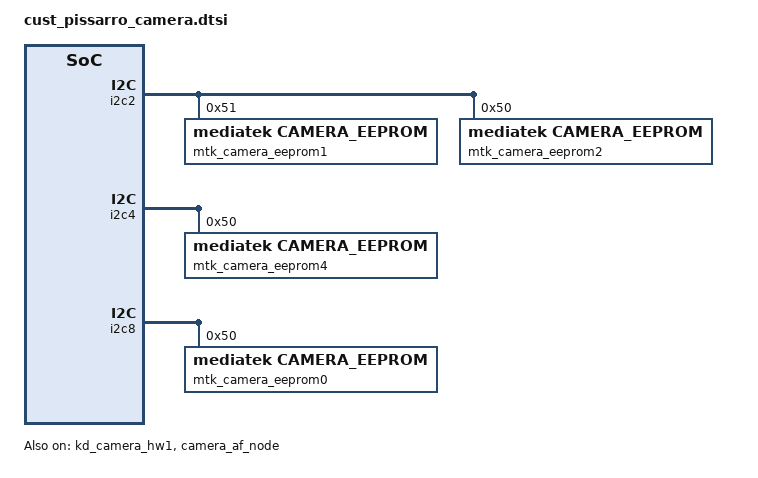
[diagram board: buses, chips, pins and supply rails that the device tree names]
/*
 * Copyright (c) 2019 MediaTek Inc.
 *
 * This program is free software; you can redistribute it and/or modify
 * it under the terms of the GNU General Public License version 2 as
 * published by the Free Software Foundation.
 *
 * This program is distributed in the hope that it will be useful,
 * but WITHOUT ANY WARRANTY; without even the implied warranty of
 * MERCHANTABILITY or FITNESS FOR A PARTICULAR PURPOSE.  See the
 * GNU General Public License for more details.
 */
/* CAMERA GPIO standardization */
&pio {
        /*camera reset pin*/
	camera_pins_cam0_rst_0: cam0@0 {
		pins_cmd_dat {
			pinmux = <PINMUX_GPIO159__FUNC_GPIO159>;
			slew-rate = <1>;
			output-low;
		};
	};
	camera_pins_cam0_rst_1: cam0@1 {
		pins_cmd_dat {
			pinmux = <PINMUX_GPIO159__FUNC_GPIO159>;
			slew-rate = <1>;
			output-high;
		};
	};
	camera_pins_cam1_rst_0: cam1@0 {
		pins_cmd_dat {
			pinmux = <PINMUX_GPIO155__FUNC_GPIO155>;
			slew-rate = <1>;
			output-low;
		};
	};
	camera_pins_cam1_rst_1: cam1@1 {
		pins_cmd_dat {
			pinmux = <PINMUX_GPIO155__FUNC_GPIO155>;
			slew-rate = <1>;
			output-high;
		};
	};
	camera_pins_cam2_rst_0: cam2@0 {
		pins_cmd_dat {
			pinmux = <PINMUX_GPIO161__FUNC_GPIO161>;
			slew-rate = <1>;
			output-low;
		};
	};
	camera_pins_cam2_rst_1: cam2@1 {
		pins_cmd_dat {
			pinmux = <PINMUX_GPIO161__FUNC_GPIO161>;
			slew-rate = <1>;
			output-high;
		};
	};
	camera_pins_cam4_rst_0: cam4@0 {
		pins_cmd_dat {
			pinmux = <PINMUX_GPIO157__FUNC_GPIO157>;
			slew-rate = <1>;
			output-low;
		};
	};
	camera_pins_cam4_rst_1: cam4@1 {
		pins_cmd_dat {
			pinmux = <PINMUX_GPIO157__FUNC_GPIO157>;
			slew-rate = <1>;
			output-high;
		};
	};

        /*camera DVDD pin*/
	camera_pins_cam0_vcamd_0: cam0@vcam0 {
		pins_cmd_dat {
			pinmux = <PINMUX_GPIO154__FUNC_GPIO154>;
			slew-rate = <1>;
			output-low;
		};
	};
	camera_pins_cam0_vcamd_1: cam0@vcam1 {
		pins_cmd_dat {
			pinmux = <PINMUX_GPIO154__FUNC_GPIO154>;
			slew-rate = <1>;
			output-high;
		};
	};

        camera_pins_cam0_vcama_0: cam0@vcam2 {
                pins_cmd_dat {
                        pinmux = <PINMUX_GPIO191__FUNC_GPIO191>;
                        slew-rate = <1>;
                        output-low;
                };
        };
        camera_pins_cam0_vcama_1: cam0@vcam3 {
                pins_cmd_dat {
                        pinmux = <PINMUX_GPIO191__FUNC_GPIO191>;
                        slew-rate = <1>;
                        output-high;
                };
        };

        /*camera mclk pin*/
	camera_pins_cam0_mclk_off: camera_pins_cam0_mclk_off {
		pins_cmd_dat {
			pinmux = <PINMUX_GPIO151__FUNC_GPIO151>;
			drive-strength = <1>;
		};
	};
	camera_pins_cam0_mclk_2ma: camera_pins_cam0_mclk_2ma {
		pins_cmd_dat {
			pinmux = <PINMUX_GPIO151__FUNC_CMMCLK2>;
			drive-strength = <0>;
		};
	};
	camera_pins_cam0_mclk_4ma: camera_pins_cam0_mclk_4ma {
		pins_cmd_dat {
			pinmux = <PINMUX_GPIO151__FUNC_CMMCLK2>;
			drive-strength = <1>;
		};
	};
	camera_pins_cam0_mclk_6ma: camera_pins_cam0_mclk_6ma {
		pins_cmd_dat {
			pinmux = <PINMUX_GPIO151__FUNC_CMMCLK2>;
			drive-strength = <2>;
		};
	};
	camera_pins_cam0_mclk_8ma: camera_pins_cam0_mclk_8ma {
		pins_cmd_dat {
			pinmux = <PINMUX_GPIO151__FUNC_CMMCLK2>;
			drive-strength = <3>;
		};
	};
	camera_pins_cam1_mclk_off: camera_pins_cam1_mclk_off {
		pins_cmd_dat {
			pinmux = <PINMUX_GPIO149__FUNC_GPIO149>;
			drive-strength = <1>;
		};
	};
	camera_pins_cam1_mclk_2ma: camera_pins_cam1_mclk_2ma {
		pins_cmd_dat {
			pinmux = <PINMUX_GPIO149__FUNC_CMMCLK0>;
			drive-strength = <0>;
		};
	};
	camera_pins_cam1_mclk_4ma: camera_pins_cam1_mclk_4ma {
		pins_cmd_dat {
			pinmux = <PINMUX_GPIO149__FUNC_CMMCLK0>;
			drive-strength = <1>;
		};
	};
	camera_pins_cam1_mclk_6ma: camera_pins_cam1_mclk_6ma {
		pins_cmd_dat {
			pinmux = <PINMUX_GPIO149__FUNC_CMMCLK0>;
			drive-strength = <2>;
		};
	};
	camera_pins_cam1_mclk_8ma: camera_pins_cam1_mclk_8ma {
		pins_cmd_dat {
			pinmux = <PINMUX_GPIO149__FUNC_CMMCLK0>;
			drive-strength = <3>;
		};
	};
	camera_pins_cam2_mclk_off: camera_pins_cam2_mclk_off {
		pins_cmd_dat {
			pinmux = <PINMUX_GPIO152__FUNC_GPIO152>;
			drive-strength = <1>;
		};
	};
	camera_pins_cam2_mclk_2ma: camera_pins_cam2_mclk_2ma {
		pins_cmd_dat {
			pinmux = <PINMUX_GPIO152__FUNC_CMMCLK3>;
			drive-strength = <0>;
		};
	};
	camera_pins_cam2_mclk_4ma: camera_pins_cam2_mclk_4ma {
		pins_cmd_dat {
			pinmux = <PINMUX_GPIO152__FUNC_CMMCLK3>;
			drive-strength = <1>;
		};
	};
	camera_pins_cam2_mclk_6ma: camera_pins_cam2_mclk_6ma {
		pins_cmd_dat {
			pinmux = <PINMUX_GPIO152__FUNC_CMMCLK3>;
			drive-strength = <2>;
		};
	};
	camera_pins_cam2_mclk_8ma: camera_pins_cam2_mclk_8ma {
		pins_cmd_dat {
			pinmux = <PINMUX_GPIO152__FUNC_CMMCLK3>;
			drive-strength = <3>;
		};
	};
	camera_pins_cam4_mclk_off: camera_pins_cam4_mclk_off {
		pins_cmd_dat {
			pinmux = <PINMUX_GPIO150__FUNC_GPIO150>;
			drive-strength = <1>;
		};
	};
	camera_pins_cam4_mclk_2ma: camera_pins_cam3_mclk_2ma {
		pins_cmd_dat {
			pinmux = <PINMUX_GPIO150__FUNC_CMMCLK1>;
			drive-strength = <0>;
		};
	};
	camera_pins_cam4_mclk_4ma: camera_pins_cam4_mclk_4ma {
		pins_cmd_dat {
			pinmux = <PINMUX_GPIO150__FUNC_CMMCLK1>;
			drive-strength = <1>;
		};
	};
	camera_pins_cam4_mclk_6ma: camera_pins_cam4_mclk_6ma {
		pins_cmd_dat {
			pinmux = <PINMUX_GPIO150__FUNC_CMMCLK1>;
			drive-strength = <2>;
		};
	};
	camera_pins_cam4_mclk_8ma: camera_pins_cam4_mclk_8ma {
		pins_cmd_dat {
			pinmux = <PINMUX_GPIO150__FUNC_CMMCLK1>;
			drive-strength = <3>;
		};
	};

	camera_pins_cam1_pnd_0: cam1@2 {
		pins_cmd_dat {
			pinmux = <PINMUX_GPIO161__FUNC_GPIO161>;
			slew-rate = <1>;
			output-low;
		};
	};
	camera_pins_cam1_pnd_1: cam1@3 {
		pins_cmd_dat {
			pinmux = <PINMUX_GPIO161__FUNC_GPIO161>;
			slew-rate = <1>;
			output-high;
		};
	};

	camera_pins_default: camdefault {
	};
};
&kd_camera_hw1 {
	pinctrl-names = "default",
			"cam0_rst0", "cam0_rst1",
			"cam1_rst0", "cam1_rst1",
			"cam2_rst0", "cam2_rst1",
			"cam4_rst0", "cam4_rst1",
			"cam0_ldo_vcamd_0", "cam0_ldo_vcamd_1",
                        "cam0_ldo_vcama_0", "cam0_ldo_vcama_1",
			"cam0_mclk_off",
			"cam0_mclk_2mA", "cam0_mclk_4mA",
			"cam0_mclk_6mA", "cam0_mclk_8mA",
			"cam1_mclk_off",
			"cam1_mclk_2mA", "cam1_mclk_4mA",
			"cam1_mclk_6mA", "cam1_mclk_8mA",
			"cam2_mclk_off",
			"cam2_mclk_2mA", "cam2_mclk_4mA",
			"cam2_mclk_6mA", "cam2_mclk_8mA",
			"cam4_mclk_off",
			"cam4_mclk_2mA", "cam4_mclk_4mA",
			"cam4_mclk_6mA", "cam4_mclk_8mA",
			"cam1_pnd0", "cam1_pnd1";
	pinctrl-0 = <&camera_pins_default>;
	pinctrl-1 = <&camera_pins_cam0_rst_0>;
	pinctrl-2 = <&camera_pins_cam0_rst_1>;
	pinctrl-3 = <&camera_pins_cam1_rst_0>;
	pinctrl-4 = <&camera_pins_cam1_rst_1>;
	pinctrl-5 = <&camera_pins_cam2_rst_0>;
	pinctrl-6 = <&camera_pins_cam2_rst_1>;
	pinctrl-7 = <&camera_pins_cam4_rst_0>;
	pinctrl-8 = <&camera_pins_cam4_rst_1>;
        pinctrl-9 = <&camera_pins_cam0_vcamd_0>;
        pinctrl-10 = <&camera_pins_cam0_vcamd_1>;
	pinctrl-11 = <&camera_pins_cam0_vcama_0>;
	pinctrl-12 = <&camera_pins_cam0_vcama_1>;
	pinctrl-13 = <&camera_pins_cam0_mclk_off>;
	pinctrl-14 = <&camera_pins_cam0_mclk_2ma>;
	pinctrl-15 = <&camera_pins_cam0_mclk_4ma>;
	pinctrl-16 = <&camera_pins_cam0_mclk_6ma>;
	pinctrl-17 = <&camera_pins_cam0_mclk_8ma>;
	pinctrl-18 = <&camera_pins_cam1_mclk_off>;
	pinctrl-19 = <&camera_pins_cam1_mclk_2ma>;
	pinctrl-20 = <&camera_pins_cam1_mclk_4ma>;
	pinctrl-21 = <&camera_pins_cam1_mclk_6ma>;
	pinctrl-22 = <&camera_pins_cam1_mclk_8ma>;
	pinctrl-23 = <&camera_pins_cam2_mclk_off>;
	pinctrl-24 = <&camera_pins_cam2_mclk_2ma>;
	pinctrl-25 = <&camera_pins_cam2_mclk_4ma>;
	pinctrl-26 = <&camera_pins_cam2_mclk_6ma>;
	pinctrl-27 = <&camera_pins_cam2_mclk_8ma>;
	pinctrl-28 = <&camera_pins_cam4_mclk_off>;
	pinctrl-29 = <&camera_pins_cam4_mclk_2ma>;
	pinctrl-30 = <&camera_pins_cam4_mclk_4ma>;
	pinctrl-31 = <&camera_pins_cam4_mclk_6ma>;
	pinctrl-32 = <&camera_pins_cam4_mclk_8ma>;
	pinctrl-33 = <&camera_pins_cam1_pnd_0>;
	pinctrl-34 = <&camera_pins_cam1_pnd_1>;

	/* main (wide)  */
	cam0_vcamio-supply = <&mt_pmic_vcamio_ldo_reg>;

	/* sub (front) */
        cam1_vcama-supply = <&fan53870_l3>;
        cam1_vcamd-supply = <&fan53870_l1>;
	cam1_vcamio-supply = <&mt_pmic_vcamio_ldo_reg>;

        /*main2 (ultra)*/
	cam2_vcama-supply = <&fan53870_l4>;
	cam2_vcamd-supply = <&fan53870_l2>;
	cam2_vcamio-supply = <&mt_pmic_vcamio_ldo_reg>;

        /*main3 (marco)*/
	cam4_vcama-supply = <&fan53870_l7>;
	cam4_vcamio-supply = <&fan53870_l5>;


        /* main (wide)  */
        cam0_vcamiow-supply = <&mt_pmic_vcamio_ldo_reg>;

        /* sub (front) */
        cam1_vcamaw-supply = <&wl2868c_l3>;
        cam1_vcamdw-supply = <&wl2868c_l1>;
        cam1_vcamiow-supply = <&mt_pmic_vcamio_ldo_reg>;

        /*main2 (ultra)*/
        cam2_vcamaw-supply = <&wl2868c_l4>;
        cam2_vcamdw-supply = <&wl2868c_l2>;
        cam2_vcamiow-supply = <&mt_pmic_vcamio_ldo_reg>;

        /*main3 (marco)*/
        cam4_vcamaw-supply = <&wl2868c_l7>;
        cam4_vcamiow-supply = <&wl2868c_l5>;


        cam0_enable_sensor = "s5khm2sd_ofilm_mipi_raw s5khm2sd_sunny_mipi_raw";
        cam1_enable_sensor = "imx471_ofilm_mipi_raw imx471_sunny_mipi_raw";
        cam2_enable_sensor = "s5k4h7_sunny_mipi_raw s5k4h7_aac_mipi_raw";
        cam3_enable_sensor = "";
        cam4_enable_sensor = "gc02m1_sunny_mipi_raw gc02m1_ofilm_mipi_raw";

	status = "okay";
};
/* CAMERA GPIO end */

/* CAMERA AF */
&camera_af_node {
	cam0_vcamaf-supply = <&fan53870_l6>;
	cam0_vcamafw-supply = <&wl2868c_l6>;
	status = "okay";
};

/* CAMERA EEPROM */
&i2c2 {
        mtk_camera_eeprom1:camera_eeprom1@51 {
                compatible = "mediatek,camera_eeprom";
                reg = <0x51>;
                status = "okay";
        };
	mtk_camera_eeprom2:camera_eeprom2@50 {
		compatible = "mediatek,camera_eeprom";
		reg = <0x50>;
		status = "okay";
	};
};
&i2c4 {
	mtk_camera_eeprom4:camera_eeprom4@50 {
		compatible = "mediatek,camera_eeprom";
		reg = <0x50>;
		status = "okay";
	};
};
&i2c7 {
        #include "mediatek/fan53870.dtsi"
        #include "mediatek/wl2868c.dtsi"
};
&i2c8 {
	mtk_camera_eeprom0:camera_eeprom0@50 {
		compatible = "mediatek,camera_eeprom";
		reg = <0x50>;
		status = "okay";
	};
};
/* CAMERA EEPROM end */
